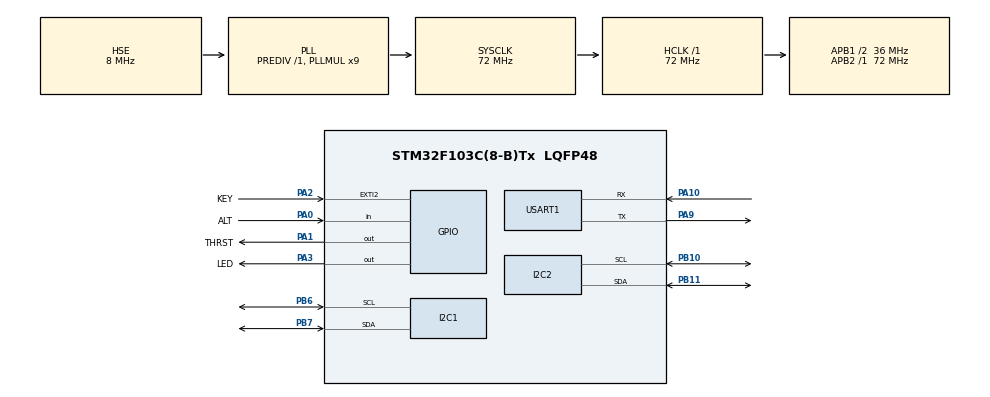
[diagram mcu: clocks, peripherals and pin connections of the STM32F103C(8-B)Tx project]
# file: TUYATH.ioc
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Mcu.Family=STM32F1
Mcu.Name=STM32F103C(8-B)Tx
Mcu.Package=LQFP48
NVIC.EXTI2_IRQn=true\:0\:0\:true\:false\:true\:true\:true
NVIC.PriorityGroup=NVIC_PRIORITYGROUP_4
NVIC.USART1_IRQn=true\:0\:0\:false\:false\:true\:true\:true
PA0-WKUP.GPIO_Label=ALT
PA0-WKUP.Signal=GPIO_Input
PA1.GPIO_Label=THRST
PA1.PinState=GPIO_PIN_SET
PA1.Signal=GPIO_Output
PA10.Mode=Asynchronous
PA10.Signal=USART1_RX
PA13.Mode=Serial_Wire
PA13.Signal=SYS_JTMS-SWDIO
PA14.Mode=Serial_Wire
PA14.Signal=SYS_JTCK-SWCLK
PA2.GPIO_Label=KEY
PA2.GPIO_ModeDefaultEXTI=GPIO_MODE_IT_FALLING
PA2.Signal=GPXTI2
PA3.GPIO_Label=LED
PA3.Signal=GPIO_Output
PA9.Mode=Asynchronous
PA9.Signal=USART1_TX
PB10.Mode=I2C
PB10.Signal=I2C2_SCL
PB11.Mode=I2C
PB11.Signal=I2C2_SDA
PB6.Mode=I2C
PB6.Signal=I2C1_SCL
PB7.Mode=I2C
PB7.Signal=I2C1_SDA
PD0-OSC_IN.Mode=HSE-External-Oscillator
PD0-OSC_IN.Signal=RCC_OSC_IN
PD1-OSC_OUT.Mode=HSE-External-Oscillator
PD1-OSC_OUT.Signal=RCC_OSC_OUT
ProjectManager.HeapSize=0x200
ProjectManager.StackSize=0x400
ProjectManager.TargetToolchain=MDK-ARM V5.27
RCC.AHBFreq_Value=72000000
RCC.APB1CLKDivider=RCC_HCLK_DIV2
RCC.APB1Freq_Value=36000000
RCC.APB1TimFreq_Value=72000000
RCC.APB2Freq_Value=72000000
RCC.APB2TimFreq_Value=72000000
RCC.HCLKFreq_Value=72000000
RCC.PLLMUL=RCC_PLL_MUL9
RCC.PLLSourceVirtual=RCC_PLLSOURCE_HSE
RCC.SYSCLKFreq_VALUE=72000000
RCC.SYSCLKSource=RCC_SYSCLKSOURCE_PLLCLK
RCC.USBFreq_Value=72000000
USART1.VirtualMode=VM_ASYNC
board=custom

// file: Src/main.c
/* USER CODE BEGIN Header */
/**
  ******************************************************************************
  * @file           : main.c
  * @brief          : Main program body
  ******************************************************************************
  * @attention
  *
  * <h2><center>&copy; Copyright (c) 2021 STMicroelectronics.
  * All rights reserved.</center></h2>
  *
  * This software component is licensed by ST under BSD 3-Clause license,
  * the "License"; You may not use this file except in compliance with the
  * License. You may obtain a copy of the License at:
  *                        opensource.org/licenses/BSD-3-Clause
  *
  ******************************************************************************
  */
/* USER CODE END Header */
#include "main.h"
#include "i2c.h"
#include "usart.h"
#include "gpio.h"

/* USER CODE BEGIN Includes */
#include "oled.h"
//#include "oledfont.h"
#include "sht30_i2c_drv.h"
#include "string.h"
#include "wifi.h"
#include "mcu_api.h"

/* USER CODE END Includes */

void SystemClock_Config(void);

int main(void)
{
  /* USER CODE BEGIN 1 */
	uint8_t recv_dat[6] = {0};
	float temperature = 0.0;
	float humidity = 0.0;
  /* USER CODE END 1 */

  /* MCU Configuration--------------------------------------------------------*/

  /* Reset of all peripherals, Initializes the Flash interface and the Systick. */
  HAL_Init();

  /* Configure the system clock */
  SystemClock_Config();

  /* Initialize all configured peripherals */
  MX_GPIO_Init();
  MX_I2C1_Init();
  MX_I2C2_Init();
  MX_USART1_UART_Init();
  /* USER CODE BEGIN 2 */
	//printf("666\n");

	__HAL_UART_ENABLE_IT(&huart1, UART_IT_RXNE);

	wifi_protocol_init();

	SHT30_Reset();
	SHT30_Init();

	OLED_Init();
	OLED_Clear();

	OLED_ShowCHineseWord(16,0,"智",0);
	OLED_ShowCHineseWord(32,0,"能",0);
	OLED_ShowCHineseWord(48,0,"温",0);
	OLED_ShowCHineseWord(64,0,"湿",0);
	OLED_ShowCHineseWord(80,0,"度",0);
	OLED_ShowCHineseWord(96,0,"计",0);
	OLED_ShowString(0,3,"TEMP:",16);
	OLED_ShowCHineseWord(111,3,"℃",0);
	OLED_ShowString(0,6,"HUMIDITY:",16);
	OLED_ShowCHineseWord(111,6,"％",0);
  /* USER CODE END 2 */

  /* Infinite loop */
  while (1)
  {

    /* USER CODE BEGIN 3 */
		wifi_uart_service();

		switch(mcu_get_wifi_work_state())
        {
            case SMART_CONFIG_STATE:
						HAL_GPIO_TogglePin(LED_GPIO_Port, LED_Pin);
						HAL_Delay(250);//处于 Smart 配置状态，即 LED 快闪
            break;
            case AP_STATE:
						HAL_GPIO_TogglePin(LED_GPIO_Port, LED_Pin);
						HAL_Delay(1500);//处于 AP 配置状态，即 LED 慢闪
            break;
            case WIFI_NOT_CONNECTED:
            HAL_GPIO_WritePin(LED_GPIO_Port, LED_Pin, GPIO_PIN_SET);//Wi-Fi 配置完成，正在连接路由器，即 LED 常暗
            break;
            case WIFI_CONNECTED:
            HAL_GPIO_WritePin(LED_GPIO_Port, LED_Pin, GPIO_PIN_RESET);//路由器连接成功，即 LED 常亮
            break;
            default:break;
        }

		SHT30_Read_Dat(recv_dat);
		SHT30_Dat_To_Float(recv_dat, &temperature, &humidity);

		OLED_ShowNum(80,3,temperature,2,16);
		OLED_ShowNum(80,6,humidity,2,16);

		mcu_dp_value_update(DPID_TEMP_CURRENT,(temperature*10));
    mcu_dp_value_update(DPID_HUMIDITY_VALUE,humidity);
  }
  /* USER CODE END 3 */
}

void SystemClock_Config(void)
{
  RCC_OscInitTypeDef RCC_OscInitStruct = {0};
  RCC_ClkInitTypeDef RCC_ClkInitStruct = {0};

  /** Initializes the RCC Oscillators according to the specified parameters
  * in the RCC_OscInitTypeDef structure.
  */
  RCC_OscInitStruct.OscillatorType = RCC_OSCILLATORTYPE_HSE;
  RCC_OscInitStruct.HSEState = RCC_HSE_ON;
  RCC_OscInitStruct.HSEPredivValue = RCC_HSE_PREDIV_DIV1;
  RCC_OscInitStruct.HSIState = RCC_HSI_ON;
  RCC_OscInitStruct.PLL.PLLState = RCC_PLL_ON;
  RCC_OscInitStruct.PLL.PLLSource = RCC_PLLSOURCE_HSE;
  RCC_OscInitStruct.PLL.PLLMUL = RCC_PLL_MUL9;
  if (HAL_RCC_OscConfig(&RCC_OscInitStruct) != HAL_OK)
  {
    Error_Handler();
  }
  /** Initializes the CPU, AHB and APB buses clocks
  */
  RCC_ClkInitStruct.ClockType = RCC_CLOCKTYPE_HCLK|RCC_CLOCKTYPE_SYSCLK
                              |RCC_CLOCKTYPE_PCLK1|RCC_CLOCKTYPE_PCLK2;
  RCC_ClkInitStruct.SYSCLKSource = RCC_SYSCLKSOURCE_PLLCLK;
  RCC_ClkInitStruct.AHBCLKDivider = RCC_SYSCLK_DIV1;
  RCC_ClkInitStruct.APB1CLKDivider = RCC_HCLK_DIV2;
  RCC_ClkInitStruct.APB2CLKDivider = RCC_HCLK_DIV1;

  if (HAL_RCC_ClockConfig(&RCC_ClkInitStruct, FLASH_LATENCY_2) != HAL_OK)
  {
    Error_Handler();
  }
}

/* USER CODE BEGIN 4 */
void UART1_SendByte(unsigned char	data)
{
	while((USART1->SR&UART_FLAG_TXE)!=UART_FLAG_TXE);
	USART1->DR =data;
}

/* USER CODE END 4 */

void Error_Handler(void)
{
  __disable_irq();
  while (1)
  {
  }
}

/************************ (C) COPYRIGHT STMicroelectronics *****END OF FILE****/
